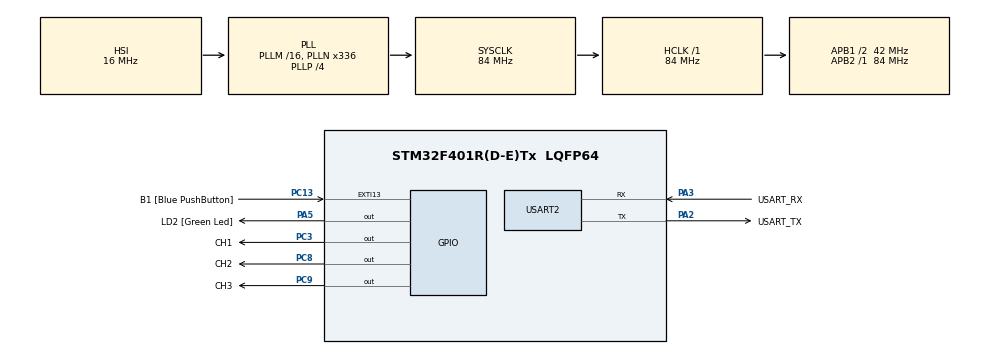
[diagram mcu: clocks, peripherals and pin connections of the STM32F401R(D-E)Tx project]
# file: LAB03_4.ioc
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Mcu.Family=STM32F4
Mcu.Name=STM32F401R(D-E)Tx
Mcu.Package=LQFP64
NVIC.EXTI15_10_IRQn=true\:0\:0\:false\:false\:true\:true\:true
NVIC.PriorityGroup=NVIC_PRIORITYGROUP_0
NVIC.TIM3_IRQn=true\:0\:0\:false\:false\:true\:true\:true
PA13.GPIO_Label=TMS
PA13.Mode=Serial_Wire
PA13.Signal=SYS_JTMS-SWDIO
PA14.GPIO_Label=TCK
PA14.Mode=Serial_Wire
PA14.Signal=SYS_JTCK-SWCLK
PA2.GPIO_Label=USART_TX
PA2.GPIO_Mode=GPIO_MODE_AF_PP
PA2.GPIO_PuPd=GPIO_NOPULL
PA2.GPIO_Speed=GPIO_SPEED_FREQ_LOW
PA2.Mode=Asynchronous
PA2.Signal=USART2_TX
PA3.GPIO_Label=USART_RX
PA3.GPIO_Mode=GPIO_MODE_AF_PP
PA3.GPIO_PuPd=GPIO_NOPULL
PA3.GPIO_Speed=GPIO_SPEED_FREQ_LOW
PA3.Mode=Asynchronous
PA3.Signal=USART2_RX
PA5.GPIO_Label=LD2 [Green Led]
PA5.GPIO_Mode=GPIO_MODE_OUTPUT_PP
PA5.GPIO_PuPd=GPIO_NOPULL
PA5.GPIO_Speed=GPIO_SPEED_FREQ_LOW
PA5.Signal=GPIO_Output
PB3.GPIO_Label=SWO
PB3.Signal=SYS_JTDO-SWO
PC13-ANTI_TAMP.GPIO_Label=B1 [Blue PushButton]
PC13-ANTI_TAMP.GPIO_ModeDefaultEXTI=GPIO_MODE_IT_FALLING
PC13-ANTI_TAMP.GPIO_PuPd=GPIO_NOPULL
PC13-ANTI_TAMP.Signal=GPXTI13
PC14-OSC32_IN.Mode=LSE-External-Oscillator
PC14-OSC32_IN.Signal=RCC_OSC32_IN
PC15-OSC32_OUT.Mode=LSE-External-Oscillator
PC15-OSC32_OUT.Signal=RCC_OSC32_OUT
PC3.GPIO_Label=CH1
PC3.Signal=GPIO_Output
PC8.GPIO_Label=CH2
PC8.Signal=GPIO_Output
PC9.GPIO_Label=CH3
PC9.Signal=GPIO_Output
PH0\ -\ OSC_IN.Mode=HSE-External-Clock-Source
PH0\ -\ OSC_IN.Signal=RCC_OSC_IN
PH1\ -\ OSC_OUT.Mode=HSE-External-Clock-Source
PH1\ -\ OSC_OUT.Signal=RCC_OSC_OUT
ProjectManager.HeapSize=0x200
ProjectManager.StackSize=0x400
ProjectManager.TargetToolchain=STM32CubeIDE
RCC.48MHZClocksFreq_Value=48000000
RCC.AHBFreq_Value=84000000
RCC.APB1CLKDivider=RCC_HCLK_DIV2
RCC.APB1Freq_Value=42000000
RCC.APB1TimFreq_Value=84000000
RCC.APB2Freq_Value=84000000
RCC.APB2TimFreq_Value=84000000
RCC.CortexFreq_Value=84000000
RCC.HCLKFreq_Value=84000000
RCC.HSE_VALUE=8000000
RCC.HSI_VALUE=16000000
RCC.PLLN=336
RCC.PLLP=RCC_PLLP_DIV4
RCC.PLLQ=7
RCC.SYSCLKFreq_VALUE=84000000
RCC.SYSCLKSource=RCC_SYSCLKSOURCE_PLLCLK
RCC.VCOOutputFreq_Value=336000000
TIM3.Channel-Output\ Compare1\ No\ Output=TIM_CHANNEL_1
TIM3.Channel-Output\ Compare2\ No\ Output=TIM_CHANNEL_2
TIM3.Channel-Output\ Compare3\ No\ Output=TIM_CHANNEL_3
TIM3.Period=999
TIM3.Prescaler=335
TIM3.Pulse-Output\ Compare1\ No\ Output=100
TIM3.Pulse-Output\ Compare2\ No\ Output=150
TIM3.Pulse-Output\ Compare3\ No\ Output=300
USART2.VirtualMode=VM_ASYNC
VP_TIM3_VS_ClockSourceINT.Mode=Internal
VP_TIM3_VS_no_output1.Mode=Output Compare1 No Output
VP_TIM3_VS_no_output2.Mode=Output Compare2 No Output
VP_TIM3_VS_no_output3.Mode=Output Compare3 No Output
board=NUCLEO-F401RE

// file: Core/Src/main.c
/* USER CODE BEGIN Header */
/**
  ******************************************************************************
  * @file           : main.c
  * @brief          : Main program body
  ******************************************************************************
  * @attention
  *
  * <h2><center>&copy; Copyright (c) 2024 STMicroelectronics.
  * All rights reserved.</center></h2>
  *
  * This software component is licensed by ST under BSD 3-Clause license,
  * the "License"; You may not use this file except in compliance with the
  * License. You may obtain a copy of the License at:
  *                        opensource.org/licenses/BSD-3-Clause
  *
  ******************************************************************************
  */
/* USER CODE END Header */
#include "main.h"

TIM_HandleTypeDef htim3;

UART_HandleTypeDef huart2;

/* USER CODE BEGIN PV */
volatile uint8_t button_pressed = 0;
/* USER CODE END PV */

void SystemClock_Config(void);
static void MX_GPIO_Init(void);
static void MX_USART2_UART_Init(void);
static void MX_TIM3_Init(void);

int main(void)
{

  /* MCU Configuration--------------------------------------------------------*/

  /* Reset of all peripherals, Initializes the Flash interface and the Systick. */
  HAL_Init();

  /* Configure the system clock */
  SystemClock_Config();

  /* Initialize all configured peripherals */
  MX_GPIO_Init();
  MX_USART2_UART_Init();
  MX_TIM3_Init();
  /* USER CODE BEGIN 2 */
  HAL_TIM_OC_Start_IT(&htim3,TIM_CHANNEL_3);
  HAL_TIM_OC_Start_IT(&htim3,TIM_CHANNEL_2);
  HAL_TIM_OC_Start_IT(&htim3,TIM_CHANNEL_1);
  /* USER CODE END 2 */

  /* Infinite loop */
  while (1)
  {
	  if (button_pressed ==1){ // condition set inside GPIO callback function
		  button_pressed = 0; // reset the condition
		  HAL_GPIO_TogglePin(GPIOA, GPIO_PIN_5); // toggle the LED
		  HAL_Delay(500); // delay for debouncing
	  }
  }
}

void SystemClock_Config(void)
{
  RCC_OscInitTypeDef RCC_OscInitStruct = {0};
  RCC_ClkInitTypeDef RCC_ClkInitStruct = {0};

  /** Configure the main internal regulator output voltage
  */
  __HAL_RCC_PWR_CLK_ENABLE();
  __HAL_PWR_VOLTAGESCALING_CONFIG(PWR_REGULATOR_VOLTAGE_SCALE2);
  /** Initializes the RCC Oscillators according to the specified parameters
  * in the RCC_OscInitTypeDef structure.
  */
  RCC_OscInitStruct.OscillatorType = RCC_OSCILLATORTYPE_HSI;
  RCC_OscInitStruct.HSIState = RCC_HSI_ON;
  RCC_OscInitStruct.HSICalibrationValue = RCC_HSICALIBRATION_DEFAULT;
  RCC_OscInitStruct.PLL.PLLState = RCC_PLL_ON;
  RCC_OscInitStruct.PLL.PLLSource = RCC_PLLSOURCE_HSI;
  RCC_OscInitStruct.PLL.PLLM = 16;
  RCC_OscInitStruct.PLL.PLLN = 336;
  RCC_OscInitStruct.PLL.PLLP = RCC_PLLP_DIV4;
  RCC_OscInitStruct.PLL.PLLQ = 7;
  if (HAL_RCC_OscConfig(&RCC_OscInitStruct) != HAL_OK)
  {
    Error_Handler();
  }
  /** Initializes the CPU, AHB and APB buses clocks
  */
  RCC_ClkInitStruct.ClockType = RCC_CLOCKTYPE_HCLK|RCC_CLOCKTYPE_SYSCLK
                              |RCC_CLOCKTYPE_PCLK1|RCC_CLOCKTYPE_PCLK2;
  RCC_ClkInitStruct.SYSCLKSource = RCC_SYSCLKSOURCE_PLLCLK;
  RCC_ClkInitStruct.AHBCLKDivider = RCC_SYSCLK_DIV1;
  RCC_ClkInitStruct.APB1CLKDivider = RCC_HCLK_DIV2;
  RCC_ClkInitStruct.APB2CLKDivider = RCC_HCLK_DIV1;

  if (HAL_RCC_ClockConfig(&RCC_ClkInitStruct, FLASH_LATENCY_2) != HAL_OK)
  {
    Error_Handler();
  }
}

static void MX_TIM3_Init(void)
{

  TIM_ClockConfigTypeDef sClockSourceConfig = {0};
  TIM_MasterConfigTypeDef sMasterConfig = {0};
  TIM_OC_InitTypeDef sConfigOC = {0};

  htim3.Instance = TIM3;
  htim3.Init.Prescaler = 335;
  htim3.Init.CounterMode = TIM_COUNTERMODE_UP;
  htim3.Init.Period = 999;
  htim3.Init.ClockDivision = TIM_CLOCKDIVISION_DIV1;
  htim3.Init.AutoReloadPreload = TIM_AUTORELOAD_PRELOAD_DISABLE;
  if (HAL_TIM_Base_Init(&htim3) != HAL_OK)
  {
    Error_Handler();
  }
  sClockSourceConfig.ClockSource = TIM_CLOCKSOURCE_INTERNAL;
  if (HAL_TIM_ConfigClockSource(&htim3, &sClockSourceConfig) != HAL_OK)
  {
    Error_Handler();
  }
  if (HAL_TIM_OC_Init(&htim3) != HAL_OK)
  {
    Error_Handler();
  }
  sMasterConfig.MasterOutputTrigger = TIM_TRGO_RESET;
  sMasterConfig.MasterSlaveMode = TIM_MASTERSLAVEMODE_DISABLE;
  if (HAL_TIMEx_MasterConfigSynchronization(&htim3, &sMasterConfig) != HAL_OK)
  {
    Error_Handler();
  }
  sConfigOC.OCMode = TIM_OCMODE_TIMING;
  sConfigOC.Pulse = 100;
  sConfigOC.OCPolarity = TIM_OCPOLARITY_HIGH;
  sConfigOC.OCFastMode = TIM_OCFAST_DISABLE;
  if (HAL_TIM_OC_ConfigChannel(&htim3, &sConfigOC, TIM_CHANNEL_1) != HAL_OK)
  {
    Error_Handler();
  }
  sConfigOC.Pulse = 150;
  if (HAL_TIM_OC_ConfigChannel(&htim3, &sConfigOC, TIM_CHANNEL_2) != HAL_OK)
  {
    Error_Handler();
  }
  sConfigOC.Pulse = 300;
  if (HAL_TIM_OC_ConfigChannel(&htim3, &sConfigOC, TIM_CHANNEL_3) != HAL_OK)
  {
    Error_Handler();
  }

}

static void MX_USART2_UART_Init(void)
{

  huart2.Instance = USART2;
  huart2.Init.BaudRate = 115200;
  huart2.Init.WordLength = UART_WORDLENGTH_8B;
  huart2.Init.StopBits = UART_STOPBITS_1;
  huart2.Init.Parity = UART_PARITY_NONE;
  huart2.Init.Mode = UART_MODE_TX_RX;
  huart2.Init.HwFlowCtl = UART_HWCONTROL_NONE;
  huart2.Init.OverSampling = UART_OVERSAMPLING_16;
  if (HAL_UART_Init(&huart2) != HAL_OK)
  {
    Error_Handler();
  }

}

static void MX_GPIO_Init(void)
{
  GPIO_InitTypeDef GPIO_InitStruct = {0};

  /* GPIO Ports Clock Enable */
  __HAL_RCC_GPIOC_CLK_ENABLE();
  __HAL_RCC_GPIOH_CLK_ENABLE();
  __HAL_RCC_GPIOA_CLK_ENABLE();
  __HAL_RCC_GPIOB_CLK_ENABLE();

  /*Configure GPIO pin Output Level */
  HAL_GPIO_WritePin(GPIOC, CH1_Pin|CH2_Pin|CH3_Pin, GPIO_PIN_RESET);

  /*Configure GPIO pin Output Level */
  HAL_GPIO_WritePin(LD2_GPIO_Port, LD2_Pin, GPIO_PIN_RESET);

  /*Configure GPIO pin : B1_Pin */
  GPIO_InitStruct.Pin = B1_Pin;
  GPIO_InitStruct.Mode = GPIO_MODE_IT_FALLING;
  GPIO_InitStruct.Pull = GPIO_NOPULL;
  HAL_GPIO_Init(B1_GPIO_Port, &GPIO_InitStruct);

  /*Configure GPIO pins : CH1_Pin CH2_Pin CH3_Pin */
  GPIO_InitStruct.Pin = CH1_Pin|CH2_Pin|CH3_Pin;
  GPIO_InitStruct.Mode = GPIO_MODE_OUTPUT_PP;
  GPIO_InitStruct.Pull = GPIO_NOPULL;
  GPIO_InitStruct.Speed = GPIO_SPEED_FREQ_LOW;
  HAL_GPIO_Init(GPIOC, &GPIO_InitStruct);

  /*Configure GPIO pin : LD2_Pin */
  GPIO_InitStruct.Pin = LD2_Pin;
  GPIO_InitStruct.Mode = GPIO_MODE_OUTPUT_PP;
  GPIO_InitStruct.Pull = GPIO_NOPULL;
  GPIO_InitStruct.Speed = GPIO_SPEED_FREQ_LOW;
  HAL_GPIO_Init(LD2_GPIO_Port, &GPIO_InitStruct);

  /* EXTI interrupt init*/
  HAL_NVIC_SetPriority(EXTI15_10_IRQn, 0, 0);
  HAL_NVIC_EnableIRQ(EXTI15_10_IRQn);

}

/* USER CODE BEGIN 4 */
void HAL_TIM_OC_DelayElapsedCallback(TIM_HandleTypeDef * htim) {
	if (htim->Channel == HAL_TIM_ACTIVE_CHANNEL_3){
		HAL_GPIO_TogglePin(GPIOC, GPIO_PIN_8);
		if (TIM3->CCR3 == 800) {
			TIM3->CCR3 = 300;
		}
		else TIM3->CCR3 = 800;
	}
	else if (htim->Channel == HAL_TIM_ACTIVE_CHANNEL_2){
		HAL_GPIO_TogglePin(GPIOC, GPIO_PIN_9);
		if (TIM3->CCR2 == 900) {
			TIM3->CCR2 = 150;
		}
		else TIM3->CCR2 = TIM3->CCR2 + 250;
	}
	else if (htim->Channel == HAL_TIM_ACTIVE_CHANNEL_1){
		HAL_GPIO_TogglePin(GPIOC, GPIO_PIN_3);
		if (TIM3->CCR1 == 975) {
			TIM3->CCR1 = 100;
		}
		else TIM3->CCR1 = TIM3->CCR1 + 125;
	}
}

void HAL_GPIO_EXTI_Callback (uint16_t GPIO_Pin) {
	button_pressed = 1; // set the variable to be read in the main program
}
/* USER CODE END 4 */

void Error_Handler(void)
{
  __disable_irq();
  while (1)
  {
  }
}

/************************ (C) COPYRIGHT STMicroelectronics *****END OF FILE****/
